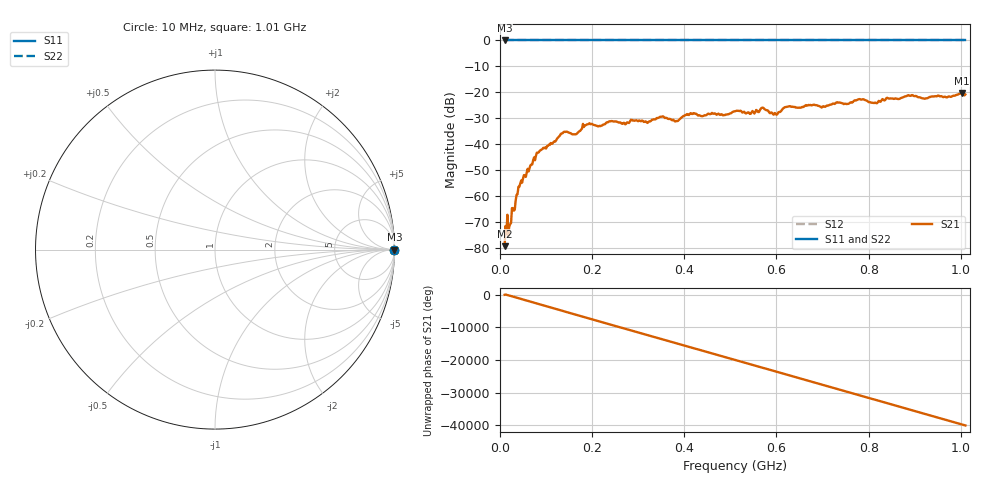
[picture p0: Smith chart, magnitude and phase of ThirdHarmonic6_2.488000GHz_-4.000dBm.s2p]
! 8/17/2025 4:41:12 AM
! C:\ANRITSUVNA\TEMP\TEMP.S2P
! CHANNEL.1
! TR.MEASUREMENT
! RAW.DATA
! RF.CORRECTION.OFF
! AVERAGING.OFF
! IF.BANDWIDTH: 5KHZ
! SWEEPTYPE:  FREQ.SWEEP(Linear)
! Reference Plane Port Info
! PORT:  PORT1  PORT2
! DISTANCE:  0  m  0  m
! TIME:  0  s  0  s
! PHASE.OFFSET:  0  deg.  0  deg.
! LOSS:  0  dB  0  dB
! REF.LOSS:  0  dB  0  dB
! REF.FREQ:  0  Hz  0  Hz
! Power Info
! POWER:  -20  dBm  -20  dBm
! EFF.POWER:  -20  dBm  -20  dBm
! SOURCE.ATTEN:  0  dB  0  dB
! TEST.ATTEN:  0  dB  0  dB
# GHZ S RI R 50.0
! FREQ.GHZ  S11RE  S11IM  S21RE  S21IM  S12RE  S12IM  S22RE  S22IM
!; PortSelection: Port_12
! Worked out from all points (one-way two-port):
!   501 points, 10 MHz to 1.01 GHz, reference 50 ohm
!   highest |S21| = -20.16 dB at 1.002 GHz (marker M1); lowest = -79.1 dB at 10 MHz (marker M2)
!   lowest |S11| = 0.0 dB at 10 MHz (marker M3)
!   |S11| at or under -10 dB: nowhere
!   |S22| runs from 0.0 to 0.0 dB; largest |S21 - S12| = 1.1
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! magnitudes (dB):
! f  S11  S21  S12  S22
! 10 MHz  0.0  -79.1  0.0  0.0
! 16 MHz  0.0  -67.1  0.0  0.0
! 22 MHz  0.0  -70.7  0.0  0.0
! 42 MHz  0.0  -56.2  0.0  0.0
! 82 MHz  0.0  -43.2  0.0  0.0
! 136 MHz  0.0  -35.7  0.0  0.0
! 162 MHz  0.0  -36.1  0.0  0.0
! 178 MHz  0.0  -33.9  0.0  0.0
! 344 MHz  0.0  -29.7  0.0  0.0
! 382 MHz  0.0  -31.0  0.0  0.0
! 416 MHz  0.0  -28.3  0.0  0.0
! 510 MHz  0.0  -27.2  0.0  0.0
! 542 MHz  0.0  -28.2  0.0  0.0
! 570 MHz  0.0  -25.8  0.0  0.0
! 598 MHz  0.0  -28.1  0.0  0.0
! 622 MHz  0.0  -25.5  0.0  0.0
! 678 MHz  0.0  -24.9  0.0  0.0
! 782 MHz  0.0  -22.7  0.0  0.0
! 814 MHz  0.0  -23.9  0.0  0.0
! 844 MHz  0.0  -22.4  0.0  0.0
! 1.002 GHz  0.0  -20.2  0.0  0.0
! 1.01 GHz  0.0  -20.8  0.0  0.0
